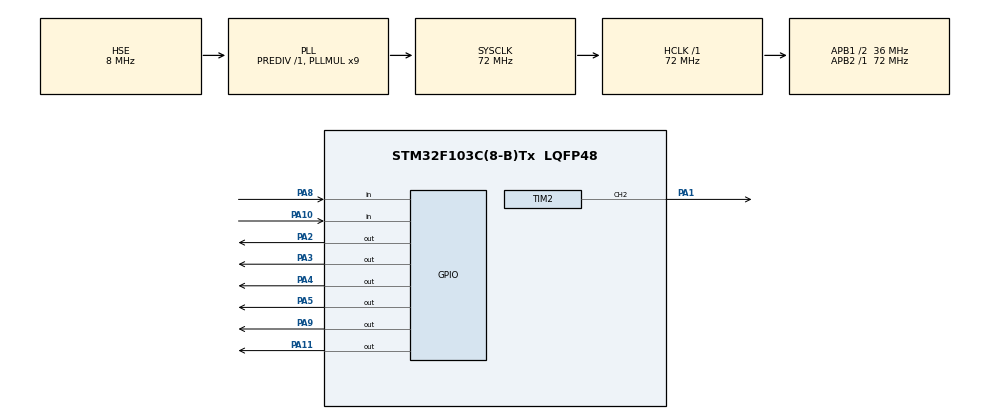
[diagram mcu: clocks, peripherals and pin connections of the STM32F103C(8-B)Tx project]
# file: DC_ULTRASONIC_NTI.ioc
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Mcu.Family=STM32F1
Mcu.Name=STM32F103C(8-B)Tx
Mcu.Package=LQFP48
NVIC.PriorityGroup=NVIC_PRIORITYGROUP_4
PA1.Signal=S_TIM2_CH2
PA10.Signal=GPIO_Input
PA11.Signal=GPIO_Output
PA13.Mode=Serial_Wire
PA13.Signal=SYS_JTMS-SWDIO
PA14.Mode=Serial_Wire
PA14.Signal=SYS_JTCK-SWCLK
PA2.Signal=GPIO_Output
PA3.Signal=GPIO_Output
PA4.Signal=GPIO_Output
PA5.Signal=GPIO_Output
PA8.Signal=GPIO_Input
PA9.Signal=GPIO_Output
PD0-OSC_IN.Mode=HSE-External-Oscillator
PD0-OSC_IN.Signal=RCC_OSC_IN
PD1-OSC_OUT.Mode=HSE-External-Oscillator
PD1-OSC_OUT.Signal=RCC_OSC_OUT
ProjectManager.HeapSize=0x200
ProjectManager.StackSize=0x400
ProjectManager.TargetToolchain=STM32CubeIDE
RCC.AHBFreq_Value=72000000
RCC.APB1CLKDivider=RCC_HCLK_DIV2
RCC.APB1Freq_Value=36000000
RCC.APB1TimFreq_Value=72000000
RCC.APB2Freq_Value=72000000
RCC.APB2TimFreq_Value=72000000
RCC.HCLKFreq_Value=72000000
RCC.PLLMUL=RCC_PLL_MUL9
RCC.PLLSourceVirtual=RCC_PLLSOURCE_HSE
RCC.SYSCLKFreq_VALUE=72000000
RCC.SYSCLKSource=RCC_SYSCLKSOURCE_PLLCLK
RCC.USBFreq_Value=72000000
SH.S_TIM2_CH2.0=TIM2_CH2,PWM Generation2 CH2
TIM1.Prescaler=71
TIM2.Channel-PWM\ Generation2\ CH2=TIM_CHANNEL_2
TIM2.Period=100
TIM2.Prescaler=2000
VP_TIM1_VS_ClockSourceINT.Mode=Internal
board=custom

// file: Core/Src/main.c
/* USER CODE BEGIN Header */
/**
 ******************************************************************************
 * @file           : main.c
 * @brief          : Main program body
 ******************************************************************************
 * @attention
 *
 * Copyright (c) 2023 STMicroelectronics.
 * All rights reserved.
 *
 * This software is licensed under terms that can be found in the LICENSE file
 * in the root directory of this software component.
 * If no LICENSE file comes with this software, it is provided AS-IS.
 *
 ******************************************************************************
 */
/* USER CODE END Header */
#include "main.h"
#include "CAR.h"
#include "L298N.h"

TIM_HandleTypeDef htim1;
TIM_HandleTypeDef htim2;

/* USER CODE BEGIN PV */
L298N_HandleTypeDef motor1={
		GPIOA,
		GPIO_PIN_2,
		GPIO_PIN_3,
		GPIOA,
		GPIO_PIN_4,
		GPIO_PIN_5,
		TIM2,
		TIM_CHANNEL_2,
		&htim2,
		TIM2,
		TIM_CHANNEL_2,
		&htim2

};
CAR_TYPEDEF Car={
		&motor1
};
////////ultra2
#define ultra2TRIG_PIN     GPIO_PIN_11
#define ultra2TRIG_PORT    GPIOA
#define ultra2ECHO_PIN     GPIO_PIN_10
#define ultra2ECHO_PORT    GPIOA
uint32_t ultra2pMillis;
uint32_t ultra2Value1 = 0;
uint32_t ultra2Value2 = 0;
uint16_t ultra2Distance  = 0;  // cm

////////ultra1
#define TRIG_PIN     GPIO_PIN_9
#define TRIG_PORT    GPIOA
#define ECHO_PIN     GPIO_PIN_8
#define ECHO_PORT    GPIOA
uint32_t pMillis;
uint32_t Value1 = 0;
uint32_t Value2 = 0;
uint16_t ultra1Distance  = 0;  // cm
/* USER CODE END PV */

void SystemClock_Config(void);
static void MX_GPIO_Init(void);
static void MX_TIM1_Init(void);
static void MX_TIM2_Init(void);

/* USER CODE BEGIN 0 */
void Ultrasonic_1_ReadDistance()
{
	HAL_GPIO_WritePin(TRIG_PORT, TRIG_PIN, GPIO_PIN_SET);  // pull the TRIG pin HIGH
	__HAL_TIM_SET_COUNTER(&htim1, 0);
	while (__HAL_TIM_GET_COUNTER (&htim1) < 10);  // wait for 10 us
	HAL_GPIO_WritePin(TRIG_PORT, TRIG_PIN, GPIO_PIN_RESET);  // pull the TRIG pin low

	pMillis = HAL_GetTick(); // used this to avoid infinite while loop  (for timeout)
	// wait for the echo pin to go high
	while (!(HAL_GPIO_ReadPin (ECHO_PORT, ECHO_PIN)) && pMillis + 10 >  HAL_GetTick());
	Value1 = __HAL_TIM_GET_COUNTER (&htim1);

	pMillis = HAL_GetTick(); // used this to avoid infinite while loop (for timeout)
	// wait for the echo pin to go low
	while ((HAL_GPIO_ReadPin (ECHO_PORT, ECHO_PIN)) && pMillis + 50 > HAL_GetTick());
	Value2 = __HAL_TIM_GET_COUNTER (&htim1);

	ultra1Distance = (Value2-Value1)* 0.034/2;
	HAL_Delay(50);
}

void Ultrasonic_2_ReadDistance()
{
	HAL_GPIO_WritePin(ultra2TRIG_PORT, ultra2TRIG_PIN, GPIO_PIN_SET);  // pull the TRIG pin HIGH
	__HAL_TIM_SET_COUNTER(&htim1, 0);
	while (__HAL_TIM_GET_COUNTER (&htim1) < 10);  // wait for 10 us
	HAL_GPIO_WritePin(ultra2TRIG_PORT, ultra2TRIG_PIN, GPIO_PIN_RESET);  // pull the TRIG pin low

	ultra2pMillis = HAL_GetTick(); // used this to avoid infinite while loop  (for timeout)
	// wait for the echo pin to go high
	while (!(HAL_GPIO_ReadPin (ultra2ECHO_PORT, ultra2ECHO_PIN)) && ultra2pMillis + 10 >  HAL_GetTick());
	Value1 = __HAL_TIM_GET_COUNTER (&htim1);

	ultra2pMillis = HAL_GetTick(); // used this to avoid infinite while loop (for timeout)
	// wait for the echo pin to go low
	while ((HAL_GPIO_ReadPin (ultra2ECHO_PORT, ultra2ECHO_PIN)) && ultra2pMillis + 50 > HAL_GetTick());
	ultra2Value2 = __HAL_TIM_GET_COUNTER (&htim1);

	ultra2Distance = (ultra2Value2-ultra2Value1)* 0.034/2;
	HAL_Delay(50);
}
/* USER CODE END 0 */

int main(void)
{

	/* MCU Configuration--------------------------------------------------------*/

	/* Reset of all peripherals, Initializes the Flash interface and the Systick. */
	HAL_Init();

	/* Configure the system clock */
	SystemClock_Config();

	/* Initialize all configured peripherals */
	MX_GPIO_Init();
	MX_TIM1_Init();
	MX_TIM2_Init();
	/* USER CODE BEGIN 2 */
	Car_INIT(&Car);
	Car_Set_Speed(&Car, 80);
	Car_Start(&Car);
	HAL_TIM_Base_Start(&htim1);
	HAL_GPIO_WritePin(TRIG_PORT, TRIG_PIN, GPIO_PIN_RESET);  // pull the TRIG pin low
	HAL_GPIO_WritePin(ultra2TRIG_PORT, ultra2TRIG_PIN, GPIO_PIN_RESET);  // pull the TRIG pin low
	Car_Stop(&Car);

	/* USER CODE END 2 */

	/* Infinite loop */
	/* USER CODE BEGIN WHILE */
	while (1)
	{
		Ultrasonic_1_ReadDistance();
		Ultrasonic_2_ReadDistance();

	}
}

void SystemClock_Config(void)
{
	RCC_OscInitTypeDef RCC_OscInitStruct = {0};
	RCC_ClkInitTypeDef RCC_ClkInitStruct = {0};

	/** Initializes the RCC Oscillators according to the specified parameters
	 * in the RCC_OscInitTypeDef structure.
	 */
	RCC_OscInitStruct.OscillatorType = RCC_OSCILLATORTYPE_HSE;
	RCC_OscInitStruct.HSEState = RCC_HSE_ON;
	RCC_OscInitStruct.HSEPredivValue = RCC_HSE_PREDIV_DIV1;
	RCC_OscInitStruct.HSIState = RCC_HSI_ON;
	RCC_OscInitStruct.PLL.PLLState = RCC_PLL_ON;
	RCC_OscInitStruct.PLL.PLLSource = RCC_PLLSOURCE_HSE;
	RCC_OscInitStruct.PLL.PLLMUL = RCC_PLL_MUL9;
	if (HAL_RCC_OscConfig(&RCC_OscInitStruct) != HAL_OK)
	{
		Error_Handler();
	}

	/** Initializes the CPU, AHB and APB buses clocks
	 */
	RCC_ClkInitStruct.ClockType = RCC_CLOCKTYPE_HCLK|RCC_CLOCKTYPE_SYSCLK
			|RCC_CLOCKTYPE_PCLK1|RCC_CLOCKTYPE_PCLK2;
	RCC_ClkInitStruct.SYSCLKSource = RCC_SYSCLKSOURCE_PLLCLK;
	RCC_ClkInitStruct.AHBCLKDivider = RCC_SYSCLK_DIV1;
	RCC_ClkInitStruct.APB1CLKDivider = RCC_HCLK_DIV2;
	RCC_ClkInitStruct.APB2CLKDivider = RCC_HCLK_DIV1;

	if (HAL_RCC_ClockConfig(&RCC_ClkInitStruct, FLASH_LATENCY_2) != HAL_OK)
	{
		Error_Handler();
	}
}

static void MX_TIM1_Init(void)
{

	TIM_ClockConfigTypeDef sClockSourceConfig = {0};
	TIM_MasterConfigTypeDef sMasterConfig = {0};

	htim1.Instance = TIM1;
	htim1.Init.Prescaler = 71;
	htim1.Init.CounterMode = TIM_COUNTERMODE_UP;
	htim1.Init.Period = 65535;
	htim1.Init.ClockDivision = TIM_CLOCKDIVISION_DIV1;
	htim1.Init.RepetitionCounter = 0;
	htim1.Init.AutoReloadPreload = TIM_AUTORELOAD_PRELOAD_DISABLE;
	if (HAL_TIM_Base_Init(&htim1) != HAL_OK)
	{
		Error_Handler();
	}
	sClockSourceConfig.ClockSource = TIM_CLOCKSOURCE_INTERNAL;
	if (HAL_TIM_ConfigClockSource(&htim1, &sClockSourceConfig) != HAL_OK)
	{
		Error_Handler();
	}
	sMasterConfig.MasterOutputTrigger = TIM_TRGO_RESET;
	sMasterConfig.MasterSlaveMode = TIM_MASTERSLAVEMODE_DISABLE;
	if (HAL_TIMEx_MasterConfigSynchronization(&htim1, &sMasterConfig) != HAL_OK)
	{
		Error_Handler();
	}

}

static void MX_TIM2_Init(void)
{

	TIM_MasterConfigTypeDef sMasterConfig = {0};
	TIM_OC_InitTypeDef sConfigOC = {0};

	htim2.Instance = TIM2;
	htim2.Init.Prescaler = 2000;
	htim2.Init.CounterMode = TIM_COUNTERMODE_UP;
	htim2.Init.Period = 100;
	htim2.Init.ClockDivision = TIM_CLOCKDIVISION_DIV1;
	htim2.Init.AutoReloadPreload = TIM_AUTORELOAD_PRELOAD_DISABLE;
	if (HAL_TIM_PWM_Init(&htim2) != HAL_OK)
	{
		Error_Handler();
	}
	sMasterConfig.MasterOutputTrigger = TIM_TRGO_RESET;
	sMasterConfig.MasterSlaveMode = TIM_MASTERSLAVEMODE_DISABLE;
	if (HAL_TIMEx_MasterConfigSynchronization(&htim2, &sMasterConfig) != HAL_OK)
	{
		Error_Handler();
	}
	sConfigOC.OCMode = TIM_OCMODE_PWM1;
	sConfigOC.Pulse = 0;
	sConfigOC.OCPolarity = TIM_OCPOLARITY_HIGH;
	sConfigOC.OCFastMode = TIM_OCFAST_DISABLE;
	if (HAL_TIM_PWM_ConfigChannel(&htim2, &sConfigOC, TIM_CHANNEL_2) != HAL_OK)
	{
		Error_Handler();
	}
	HAL_TIM_MspPostInit(&htim2);

}

static void MX_GPIO_Init(void)
{
	GPIO_InitTypeDef GPIO_InitStruct = {0};

	/* GPIO Ports Clock Enable */
	__HAL_RCC_GPIOD_CLK_ENABLE();
	__HAL_RCC_GPIOA_CLK_ENABLE();

	/*Configure GPIO pin Output Level */
	HAL_GPIO_WritePin(GPIOA, GPIO_PIN_2|GPIO_PIN_3|GPIO_PIN_4|GPIO_PIN_5
			|GPIO_PIN_9|GPIO_PIN_11, GPIO_PIN_RESET);

	/*Configure GPIO pins : PA2 PA3 PA4 PA5
                           PA9 PA11 */
	GPIO_InitStruct.Pin = GPIO_PIN_2|GPIO_PIN_3|GPIO_PIN_4|GPIO_PIN_5
			|GPIO_PIN_9|GPIO_PIN_11;
	GPIO_InitStruct.Mode = GPIO_MODE_OUTPUT_PP;
	GPIO_InitStruct.Pull = GPIO_NOPULL;
	GPIO_InitStruct.Speed = GPIO_SPEED_FREQ_LOW;
	HAL_GPIO_Init(GPIOA, &GPIO_InitStruct);

	/*Configure GPIO pins : PA8 PA10 */
	GPIO_InitStruct.Pin = GPIO_PIN_8|GPIO_PIN_10;
	GPIO_InitStruct.Mode = GPIO_MODE_INPUT;
	GPIO_InitStruct.Pull = GPIO_NOPULL;
	HAL_GPIO_Init(GPIOA, &GPIO_InitStruct);

}

void Error_Handler(void)
{
	__disable_irq();
	while (1)
	{
	}
}
